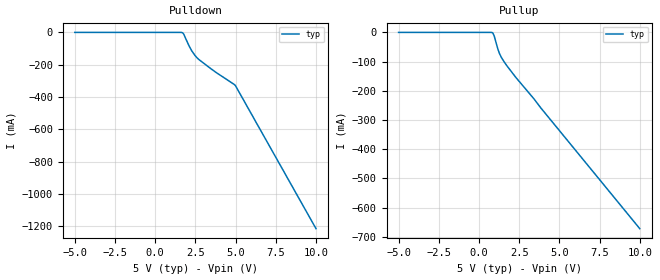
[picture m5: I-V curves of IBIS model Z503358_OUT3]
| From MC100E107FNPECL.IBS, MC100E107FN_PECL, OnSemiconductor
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| (C) COPYRIGHT 1993-2000
| MENTOR GRAPHICS CORPORATION
| ICX STANDARD LIBRARY, ICX PROJECT MODELING,
| ICX CUSTOM MODELING, ICX VENDOR MODEL
| ALL RIGHTS RESERVED.
| THE FOLLOWING ARE TRADEMARKS OR SERVICE MARKS OF
| MENTOR GRAPHICS CORPORATION:ICX (R), ICX STANDARD
| LIBRARY(R), ICX PROJECT MODELING(R), ICX CUSTOM
| MODELING(R), qualityIBIS(TM), MODELVIEWER(TM),
| AND MODELEDITOR(TM)
| ALL COPIES OF SOFTWARE, INCLUDING BUT NOT LIMITED TO
| ANY MODIFICATIONS, ENHANCEMENTS OR DERIVATIVE WORKS,
| MUST CONTAIN ALL MENTOR GRAPHICS CORPORATION'S
| NOTICES AND LEGENDS, INCLUDING THOSE EMBEDDED IN
| SOFTWARE AND THOSE AFFIXED TO SOFTWARE MEDIUM
| AND CONTAINER, AS RECEIVED FROM MENTOR GRAPHICS
| CORPORATION.
| Model Application Version 1.89 2/18/99.
[Model] Z503358_OUT3
Model_type Output_ECL
Vref=3.000V
Rref=50.00ohms
Cref=0.000F
Vmeas=3.677V
C_comp 8.000pF NA NA
| variable typ   min   max
[Voltage Range] 5.000V NA NA
[POWER Clamp Reference] 5.000V NA NA
[Pullup Reference] 5.000V NA NA
[Pulldown Reference] 5.000V NA NA
[GND Clamp Reference] 0.000V NA NA
[GND Clamp]
-5V       0A         NA         NA
10V       0A         NA         NA
[Pulldown]
-5V       0A         NA         NA
1.694V    -2.1mA     NA         NA
1.776V    -11.8mA    NA         NA
2.1V      -82.9mA    NA         NA
2.263V    -112.6mA   NA         NA
2.587V    -155.9mA   NA         NA
3.439V    -223.1mA   NA         NA
4.981V    -328.3mA   NA         NA
10V       -1.215A    NA         NA
[Pullup]
-5V       0A         NA         NA
746mV     0A         NA         NA
868mV     -2.5mA     NA         NA
949mV     -12.6mA    NA         NA
1.172V    -56.6mA    NA         NA
1.273V    -72.3mA    NA         NA
1.395V    -85.9mA    NA         NA
1.74V     -114.7mA   NA         NA
2.308V    -155.3mA   NA         NA
3.404V    -226.7mA   NA         NA
3.85V     -259mA     NA         NA
10V       -672.5mA   NA         NA
[POWER Clamp]
-5V       0A         NA         NA
10V       0A         NA         NA
[Ramp]
| variable typ min max
dV/dt_r 493.2m/334.5p NA NA
dV/dt_f 493.2m/233.8p NA NA
R_load = 500.0Ohms
